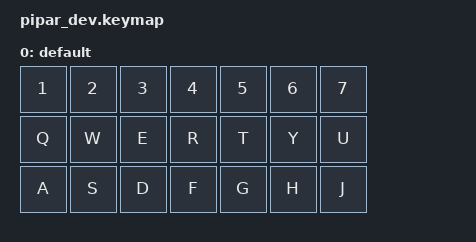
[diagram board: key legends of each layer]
/*
 * Bring-up keymap for the Pipar Dev board.
 *
 * 3x7 matrix mapped to unique letters/digits so shorting any row/col pair
 * on the J10/J11 breakout produces a distinct, identifiable USB HID event:
 *
 *   col:   0   1   2   3   4   5   6
 *   row 0: 1   2   3   4   5   6   7
 *   row 1: Q   W   E   R   T   Y   U
 *   row 2: A   S   D   F   G   H   J
 */

#include <behaviors.dtsi>
#include <dt-bindings/zmk/keys.h>
#include <dt-bindings/zmk/bt.h>
#include <dt-bindings/zmk/outputs.h>

/ {
    keymap {
        compatible = "zmk,keymap";

        default_layer {
            display-name = "default";
            bindings = <
                &kp N1 &kp N2 &kp N3 &kp N4 &kp N5 &kp N6 &kp N7
                &kp Q  &kp W  &kp E  &kp R  &kp T  &kp Y  &kp U
                &kp A  &kp S  &kp D  &kp F  &kp G  &kp H  &kp J
            >;
        };
    };
};
